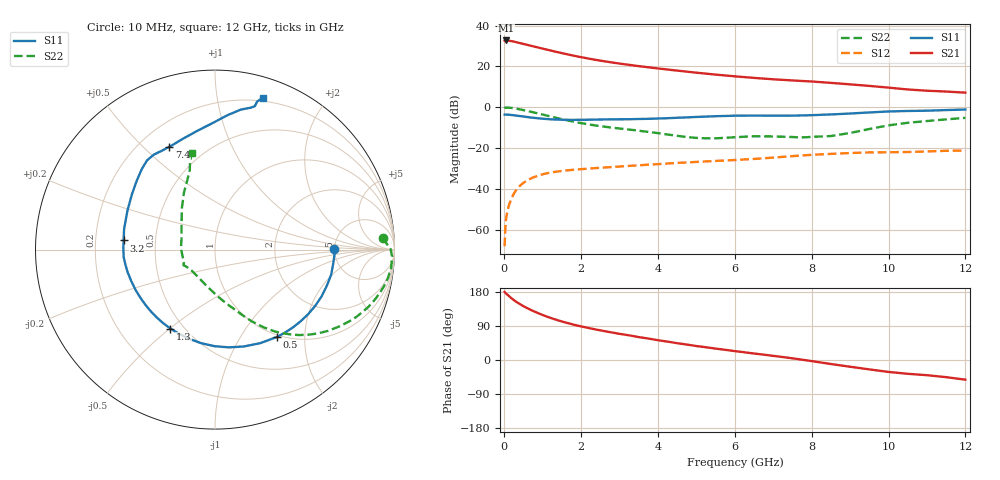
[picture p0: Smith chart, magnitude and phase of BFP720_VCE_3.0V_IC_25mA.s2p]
! Infineon Technologies  Discrete & RF Semiconductors
! BFP720
! VCE =  3.0 V,  IC =  25 mA
! Common Emitter S-Parameters:  Aug 2012
# GHz  S  MA  R  50
!  f  S11  S21  S12  S22
! GHz  MAG  ANG  MAG  ANG  MAG  ANG  MAG  ANG
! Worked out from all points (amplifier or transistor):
!   105 points, 10 MHz to 12 GHz, reference 50 ohm
!   highest |S21| = 32.7 dB at 50 MHz (marker M1)
!   |S21| within 3 dB of that: start of sweep to 782.4 MHz
!   unconditionally stable (mu >= 1): start of sweep to 16.31 MHz; 4.083 GHz to 9.794 GHz
!   at 300 MHz: K = 0.17, MSG = 36.4 dB, |S12| = -40.8 dB
!   at 3.6 GHz: K = 0.94, MSG = 24.1 dB, |S12| = -28.2 dB
!   at 12 GHz: K = 0.74, MSG = 14.2 dB, |S12| = -21.1 dB
!   S11 on the Smith chart (normalised r, x): 10 MHz: 4.94, +0.06; 500 MHz: 0.96, -1.46; 1.3 GHz: 0.42, -0.50; 3.2 GHz: 0.32, +0.04; 7.4 GHz: 0.32, +0.60; 12 GHz: 0.17, +1.35
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0.01  0.6636 0.3  42.77 179.7  0.0004 22.6  0.9369 3.9
0.02  0.6662 -2.2  43.27 177.7  0.0007 88.8  0.9787 0.1
0.05  0.6638 -5.9  43.39 175.2  0.0019 94.4  0.9875 -2.2
0.15  0.6546 -18.1  42.36 166.2  0.0047 81.2  0.9774 -9.1
0.25  0.6402 -29.3  40.68 158.1  0.0077 76.4  0.949 -14.9
0.4  0.6135 -45.0  37.62 148.0  0.0118 70.4  0.8938 -22.7
0.5  0.5962 -54.8  35.63 142.1  0.0142 66.5  0.8563 -27.3
0.6  0.5791 -64.2  33.88 136.8  0.0164 62.8  0.8162 -31.5
0.8  0.55 -82.0  30.44 127.2  0.02 56.4  0.7402 -39.1
1.1  0.5179 -105.8  25.99 114.9  0.0242 49.1  0.6316 -48.4
1.3  0.5055 -119.4  23.47 107.9  0.0262 45.3  0.5689 -53.5
1.7  0.4948 -141.1  19.33 96.1  0.0291 40.2  0.467 -61.3
2.1  0.4966 -156.4  16.25 86.6  0.0312 37.2  0.3965 -67.2
2.6  0.5061 -170.4  13.45 76.3  0.0337 35.0  0.337 -73.5
3.2  0.5116 174.3  11.13 65.9  0.0366 33.5  0.2892 -80.9
4.1  0.5368 154.2  8.746 50.7  0.0414 31.4  0.2267 -95.6
5  0.5826 138.2  7.059 36.8  0.0462 28.9  0.1789 -122.5
6.1  0.6254 126.4  5.646 22.2  0.052 26.4  0.1879 -150.4
7.4  0.6267 114.0  4.619 5.8  0.063 22.9  0.1891 -157.1
8.5  0.6706 98.1  3.975 -10.6  0.0726 15.1  0.1985 159.9
10.5  0.8152 75.9  2.74 -36.4  0.0807 0.4  0.419 111.5
12  0.8853 72.6  2.291 -51.9  0.0877 -9.3  0.5528 103.4
